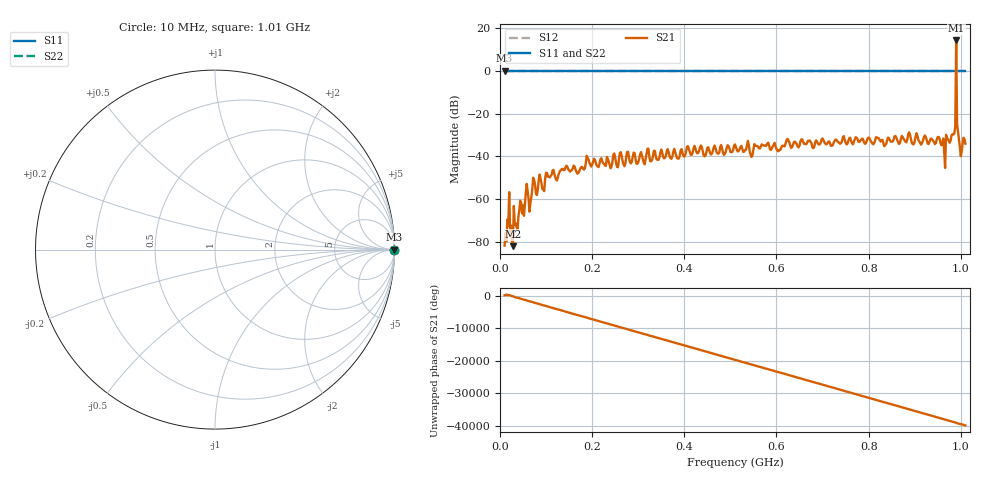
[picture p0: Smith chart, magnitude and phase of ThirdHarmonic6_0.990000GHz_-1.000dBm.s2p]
! 8/16/2025 7:49:41 AM
! C:\ANRITSUVNA\TEMP\TEMP.S2P
! CHANNEL.1
! TR.MEASUREMENT
! RAW.DATA
! RF.CORRECTION.OFF
! AVERAGING.OFF
! IF.BANDWIDTH: 5KHZ
! SWEEPTYPE:  FREQ.SWEEP(Linear)
! Reference Plane Port Info
! PORT:  PORT1  PORT2
! DISTANCE:  0  m  0  m
! TIME:  0  s  0  s
! PHASE.OFFSET:  0  deg.  0  deg.
! LOSS:  0  dB  0  dB
! REF.LOSS:  0  dB  0  dB
! REF.FREQ:  0  Hz  0  Hz
! Power Info
! POWER:  -20  dBm  -20  dBm
! EFF.POWER:  -20  dBm  -20  dBm
! SOURCE.ATTEN:  0  dB  0  dB
! TEST.ATTEN:  0  dB  0  dB
# GHZ S RI R 50.0
! FREQ.GHZ  S11RE  S11IM  S21RE  S21IM  S12RE  S12IM  S22RE  S22IM
!; PortSelection: Port_12
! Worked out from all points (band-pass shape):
!   501 points, 10 MHz to 1.01 GHz, reference 50 ohm
!   highest |S21| = 14.22 dB at 990 MHz (marker M1); lowest = -82.1 dB at 28 MHz (marker M2)
!   |S21| within 3 dB of the highest: 989.8519 MHz to 990.1528 MHz (300.9 kHz wide, 0.0304 % of centre)
!   lowest |S11| = 0.0 dB at 10 MHz (marker M3)
!   |S11| at or under -10 dB: nowhere
!   |S22| runs from 0.0 to 0.0 dB; largest |S21 - S12| = 6.1
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0.01  1 0  -7.62e-05 2.6e-05  1 0  1 0
0.02  1 0  -0.00143 8.68e-05  1 0  1 0
0.028  1 0  -1.23e-05 -7.73e-05  1 0  1 0
0.058  1 0  0.00221 0.000433  1 0  1 0
0.066  1 0  0.000481 0.000658  1 0  1 0
0.072  1 0  -0.00313 0.000223  1 0  1 0
0.178  1 0  -0.00563 9.06e-05  1 0  1 0
0.19  1 0  0.00539 0.00751  1 0  1 0
0.344  1 0  0.00725 -0.00379  1 0  1 0
0.51  1 0  -0.00886 0.0167  1 0  1 0
0.546  1 0  -0.00395 0.00873  1 0  1 0
0.678  1 0  -0.0159 -8.81e-05  1 0  1 0
0.844  1 0  0.0226 -0.0141  1 0  1 0
0.952  1 0  0.00945 -0.0266  1 0  1 0
0.962  1 0  0.000885 -0.026  1 0  1 0
0.984  1 0  0.00149 0.0321  1 0  1 0
0.986  1 0  0.0334 0.00687  1 0  1 0
0.99  1 0  -5.099 -0.6511  1 0  1 0
0.994  1 0  0.0344 -0.0147  1 0  1 0
0.996  1 0  -0.00637 -0.0233  1 0  1 0
1  1 0  -0.00254 0.00967  1 0  1 0
1.01  1 0  0.00382 0.0193  1 0  1 0
